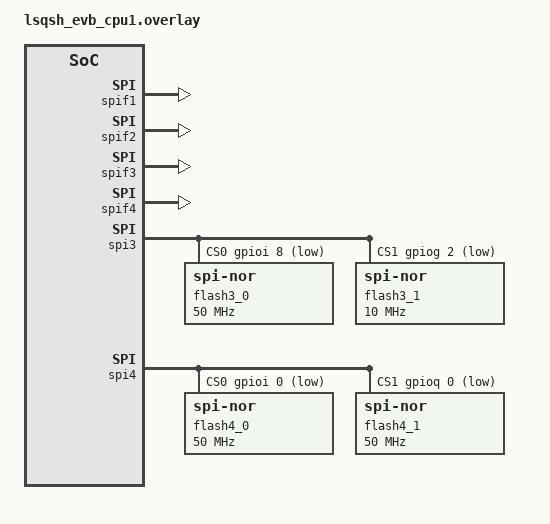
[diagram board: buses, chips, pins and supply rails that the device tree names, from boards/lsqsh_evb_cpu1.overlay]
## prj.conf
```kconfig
CONFIG_SPI_FILTER_LINKEDSEMI=y
CONFIG_SPI=y
CONFIG_FLASH=y
# CONFIG_LOG_MODE_IMMEDIATE=y
CONFIG_SHELL=y
CONFIG_FLASH_SHELL=y
CONFIG_DMA=y

CONFIG_LOG=y
CONFIG_LOG_BUFFER_SIZE=65536
CONFIG_SHELL_BACKEND_SERIAL_LOG_MESSAGE_QUEUE_SIZE=40960
# CONFIG_LOG=n
# CONFIG_LOG_BUFFER_SIZE=1024
# CONFIG_SHELL_BACKEND_SERIAL_LOG_MESSAGE_QUEUE_SIZE=1024

# CONFIG_LOG_MODE_DEFERRED=n
# CONFIG_LOG_MODE_IMMEDIATE=y

CONFIG_FLASH_JESD216_API=y
CONFIG_SPI_EXTENDED_MODES=y

CONFIG_MAIN_STACK_SIZE=10240

CONFIG_IDLE_STACK_SIZE=512
CONFIG_TEST_EXTRA_STACK_SIZE=1536
CONFIG_SYSTEM_WORKQUEUE_STACK_SIZE=8192
CONFIG_ISR_STACK_SIZE=4096
CONFIG_PRIVILEGED_STACK_SIZE=4096
CONFIG_SHELL_STACK_SIZE=4096
CONFIG_LOG_PROCESS_THREAD_STACK_SIZE=4096

CONFIG_SPI_FILTER_INTERRUPT_LOG=n
CONFIG_SPI_FILTER_DMA_LOG=y

CONFIG_BUILD_OUTPUT_HEX=y#hex

CONFIG_LOG_MODE_DEFERRED=n
CONFIG_LOG_MODE_IMMEDIATE=y
CONFIG_SHELL=n
#reboot才需要
# CONFIG_LINKEDSEMI_ZEPHYR_UTIL_CMD_REBOOT=y

# CONFIG_SPI_NOR_SFDP_RUNTIME=n
 #让设备树配置flash大小
 # CONFIG_MAIN_STACK_SIZE
```

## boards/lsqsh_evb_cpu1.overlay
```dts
#include "lsqsh_pinctrl_pfr_tpm.dtsi"

/ {
    aliases {
#if 1
        spifilter = &spif3;
	//spifiltermaster = &spif4;
	spifiltermaster = &spif3;
        //spifiltermaster = &spif1;
	spiflash = &flash4_0;
        //spiflash = &flash3_0;
#endif
#if 0
        spifilter = &spif2;
        spifiltermaster = &spif4;
        spiflash = &flash4_1;
#endif
    };
};

&spif1 {
    status = "okay";
};

&spif2 {
    status = "okay";
};

&spif3 {
    cmd-page-program-quad-addr-quad-data =<0xc2>;
    cmd-quad-spi-mode-enter = <0x38>;
    cmd-quad-spi-mode-exit = <0xff>;
    status = "okay";
};

&spif4 {
    cmd-page-program-quad-addr-quad-data =<0xc2>;
    cmd-quad-spi-mode-enter = <0x38>;
    cmd-quad-spi-mode-exit = <0xff>;
    status = "okay";
};

&spi3 {
    cs-gpios = <&gpioi 8 GPIO_ACTIVE_LOW>,
                <&gpiog 2 GPIO_ACTIVE_LOW>;
    pinctrl-0 = <>;
    pinctrl-names = "default";
    //timing-calibration-disabled;
    dmas =<&dmac2 7 DMA_SPI3_RX>,<&dmac2 7 DMA_SPI3_TX>;
    dma-names ="rx","tx";
    status = "okay";

    flash3_0: flash3@0 {
        compatible = "jedec,spi-nor";
        reg = <0>;
        spi-max-frequency = <DT_FREQ_M(50)>;
        spi-max-buswidth = <4>;
        //spi-nor-caps-mask=<0x40000>;
        re-init-support;
    };
    flash3_1: flash3@1 {
        compatible = "jedec,spi-nor";
        reg = <1>;
        spi-max-frequency = <DT_FREQ_M(10)>;
        spi-max-buswidth = <4>;
        re-init-support;
    };
};

&spi4 {
    cs-gpios = <&gpioi 0 GPIO_ACTIVE_LOW>,
                <&gpioq 0 GPIO_ACTIVE_LOW>;
    pinctrl-0 = <>;
    pinctrl-names = "default";
    //timing-calibration-disabled;
    dmas =<&dmac2 7 DMA_SPI4_RX>,<&dmac2 7 DMA_SPI4_TX>;
    dma-names ="rx","tx";
    status = "okay";

    flash4_0: flash4@0 {
        compatible = "jedec,spi-nor";
        reg = <0>;
        spi-max-frequency = <DT_FREQ_M(50)>;
        spi-max-buswidth = <4>;
        re-init-support;
    };
    flash4_1: flash4@1 {
        compatible = "jedec,spi-nor";
        reg = <1>;
        spi-max-frequency = <DT_FREQ_M(50)>;
        spi-max-buswidth = <4>;
        re-init-support;
    };
};

&dmac1 {
    status = "okay";
};

&dmac2 {
    status = "okay";
};

#if 0
#undef SRAM_TOTAL_SIZE
#undef SRAM_RO_SIZE
#undef SRAM_RW_SIZE

#define SRAM_TOTAL_SIZE DT_SIZE_K(512 - 128)
#define SRAM_RO_SIZE    DT_SIZE_K(256 - 128)
#define SRAM_RW_SIZE    (SRAM_TOTAL_SIZE - SRAM_RO_SIZE)

&sram_ro {
    reg = <0x10020000 SRAM_RO_SIZE>;
};

&sram {
    reg = <(0x10020000 + SRAM_RO_SIZE) SRAM_RW_SIZE>;
};
#endif
```

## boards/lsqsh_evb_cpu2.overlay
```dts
#include "lsqsh_pinctrl_pfr_tpm.dtsi"

/ {
    aliases {
#if 1
        spifilter = &spif3;
	//spifiltermaster = &spif4;
        spifiltermaster = &spif3;
	//spifiltermaster = &spif1;
	spiflash = &flash4_0;
	//spiflash = &flash4_1;
        //spiflash = &flash3_0;
#endif
#if 0
        spifilter = &spif2;
        spifiltermaster = &spif4;
        spiflash = &flash4_1;
#endif
    };
};

&chosen {
    zephyr,flash-controller = &qspi1;
    zephyr,console = &uart5;
    zephyr,shell-uart = &uart5;
};

&spif1 {
    status = "okay";
};

&spif2 {
    status = "okay";
};

&spif3 {
    cmd-page-program-quad-addr-quad-data =<0xc2>;
    cmd-quad-spi-mode-enter = <0x38>;
    cmd-quad-spi-mode-exit = <0xff>;
    status = "okay";
};

&spif4 {
    cmd-page-program-quad-addr-quad-data =<0xc2>;
    cmd-quad-spi-mode-enter = <0x38>;
    cmd-quad-spi-mode-exit = <0xff>;
    status = "okay";
};

&spi3 {
    cs-gpios = <&gpioi 8 GPIO_ACTIVE_LOW>,
                <&gpiog 2 GPIO_ACTIVE_LOW>;
    pinctrl-0 = <>;
    pinctrl-names = "default";
    //timing-calibration-disabled;
    dmas =<&dmac2 6 DMA_SPI3_RX>,<&dmac2 6 DMA_SPI3_TX>;
    dma-names ="rx","tx";
    status = "okay";

    flash3_0: flash3@0 {
        compatible = "jedec,spi-nor";
        reg = <0>;
        spi-max-frequency = <DT_FREQ_M(10)>;
        spi-max-buswidth = <4>;
        //spi-nor-caps-mask=<0x40000>;
        re-init-support;
    };
    flash3_1: flash3@1 {
        compatible = "jedec,spi-nor";
        reg = <1>;
        spi-max-frequency = <DT_FREQ_M(10)>;
        spi-max-buswidth = <4>;
        re-init-support;
    };
};

&spi4 {
    cs-gpios = <&gpioi 0 GPIO_ACTIVE_LOW>,
                <&gpioq 0 GPIO_ACTIVE_LOW>;
    pinctrl-0 = <>;
    pinctrl-names = "default";
    timing-calibration-disabled;
    dmas =<&dmac2 7 DMA_SPI4_RX>,<&dmac2 7 DMA_SPI4_TX>;
    dma-names ="rx","tx";
    status = "okay";

    flash4_0: flash4@0 {
        compatible = "jedec,spi-nor";
        reg = <0>;
        spi-max-frequency = <DT_FREQ_M(50)>;
        spi-max-buswidth = <4>;
        re-init-support;
    };
    flash4_1: flash4@1 {
        compatible = "jedec,spi-nor";
        reg = <1>;
	spi-max-frequency = <DT_FREQ_M(50)>;
        spi-max-buswidth = <4>;
        re-init-support;
    };
};

&dmac1 {
    status = "okay";
};

&dmac2 {
    status = "okay";
};

&pinctrl {
	/omit-if-no-ref/uart4_tx_pd11: uart4_tx_pd11 {
	pinmux = <UART4_TXD_FUNC1_IDX09_PINMUX_PD(11)>;
};

	/omit-if-no-ref/uart4_rx_pd12: uart4_rx_pd12 {
	pinmux = <UART4_RXD_FUNC1_IDX10_PINMUX_PD(12)>;
	input-enable;
};
	/omit-if-no-ref/uart5_tx_pn14: uart5_tx_pn14 {
	pinmux = <UART5_TXD_FUNC4_PN14_PINMUX>;
};
	/omit-if-no-ref/uart5_rx_pn13: uart5_rx_pn13 {
	pinmux = <UART5_RXD_FUNC4_PN13_PINMUX>;
	input-enable;
};

};

&uart4 {
	status = "disabled";
	pinctrl-0 = <&uart4_tx_pd11 &uart4_rx_pd12>;
	pinctrl-names = "default";
};

#if 1
&uart5 {
	status = "okay";
	pinctrl-0 = <&uart5_tx_pn14 &uart5_rx_pn13>;
	pinctrl-names = "default";
};
#endif

#if 0
#undef SRAM_TOTAL_SIZE
#undef SRAM_RO_SIZE
#undef SRAM_RW_SIZE

#define SRAM_TOTAL_SIZE DT_SIZE_K(512 - 128)
#define SRAM_RO_SIZE    DT_SIZE_K(256 - 128)
#define SRAM_RW_SIZE    (SRAM_TOTAL_SIZE - SRAM_RO_SIZE)

&sram_ro {
    reg = <0x10020000 SRAM_RO_SIZE>;
};

&sram {
    reg = <(0x10020000 + SRAM_RO_SIZE) SRAM_RW_SIZE>;
};
#endif
```

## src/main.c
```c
/*
 * Copyright (c) 2024 Linkedsemi
 *
 * SPDX-License-Identifier: Apache-2.0
 */

#include "zephyr/sys/printk.h"
#include "zephyr/sys/util.h"
#include "zephyr/types.h"
#include <stdbool.h>
#include <stdint.h>
#if !defined(CONFIG_SPI_FILTER_LINKEDSEMI)
    #error no CONFIG_SPI_FILTER_LINKEDSEMI define
#endif

#include <zephyr/drivers/spi.h>
#include <zephyr/drivers/spi_nor.h>
#include <zephyr/kernel.h>
#include <stdlib.h>
#include <stdio.h>
#include <zephyr/kernel.h>
#include <zephyr/drivers/spi.h>
#include <zephyr/drivers/flash.h>
#include <reg_spi_filter.h>
#include <spi_filter.h>
#include <ls_soc_gpio.h>
#include <zephyr/logging/log.h>
#include <time.h>
#include <zephyr/kernel.h>
#include <soc.h>
#ifndef DELAY_MS
#define DELAY_MS(ms) k_msleep(ms)
#endif

#define READ_LLI_DIS 1
#define NO_ALIGN 0
LOG_MODULE_REGISTER(spi_master_communication, LOG_LEVEL_INF);

#define TEST_READ_SIZE  4096

#define FLASH_TEST_STACK_SIZE 4096
#define FLASH_TEST_PRIORITY 5
#define START_ADDR 0x00
#define ERASE_SIZE 0X9000
#define FLASH_PAGE_SIZE_MAIN 256
static uint8_t write_buf[32896]={0};
static uint8_t read_buf[32896]={0};
// static uint8_t read_total_big_buf[8188]={0};
#if NO_ALIGN

#if READ_LLI_DIS
__aligned(4) static uint8_t read_total_big_noalign_buf[sizeof(write_buf) + 8] = {0};
#else
__aligned(4) static uint8_t read_total_big_lli_noalign_buf[sizeof(write_buf)-24564 + 8] = {0};
#endif

#else

#if READ_LLI_DIS
static uint8_t read_total_big_buf[sizeof(write_buf)]={0};
static uint8_t read_total_big_buf1[sizeof(write_buf)-1]={0};
static uint8_t read_total_big_buf2[sizeof(write_buf)-2]={0};
static uint8_t read_total_big_buf3[sizeof(write_buf)-3]={0};
#else
static uint8_t read_total_big_lli_buf[sizeof(write_buf)-24564]={0};
static uint8_t read_total_big_lli_buf1[sizeof(write_buf)-24565]={0};
static uint8_t read_total_big_lli_buf2[sizeof(write_buf)-24566]={0};
static uint8_t read_total_big_lli_buf3[sizeof(write_buf)-24567]={0};
#endif

#endif
K_THREAD_STACK_DEFINE(flash_read_stack, FLASH_TEST_STACK_SIZE);
struct k_thread flash_read_thread_data;
static uint8_t test_read_buf[TEST_READ_SIZE];


void flash_read_loop_thread(void *p1, void *p2, void *p3)
{

	const struct device *const flash_dev = DEVICE_DT_GET(DT_ALIAS(spiflash));
	uint32_t read_count = 0;

	if (!device_is_ready(flash_dev)) {
		LOG_ERR("Flash device not ready, stress test aborted.");
		return;
	}

	LOG_INF("Flash stress test thread started on %s", flash_dev->name);

	while (1) {

		int ret = flash_read(flash_dev, START_ADDR, test_read_buf, TEST_READ_SIZE);

		if (ret == 0) {

		if (read_count % 500 == 0) {
			LOG_INF("Flash read healthy. Total reads: %u", read_count);
		}
		} else {
		LOG_ERR("Flash read FAILED at count %u, error: %d", read_count, ret);
		}

		read_count++;


		k_msleep(20);
	}
}

int  test_spif(void)
{
	do {
		uint8_t id[3] = { 0 };
		const struct device *const flash_dev = DEVICE_DT_GET(DT_ALIAS(spiflash));
		// spi_nor_re_init(flash_dev);
		int rc = flash_read_jedec_id(flash_dev, id);
		DELAY_MS(10);
		if (rc == 0) {

			LOG_INF("jedec-id = [%02x %02x %02x];\n", id[0], id[1], id[2]);
		} else {
		LOG_INF("JEDEC ID read failed: %d\n", rc);
		}
	} while(0);

	return 0;
}

void spi_monitor_jedec_id(const struct device *const spifiltermaster,const struct device *const spifilter,uint32_t freq)
{

	// spif_add_cmd(spifilter, 0x9f);

	static const uint8_t send_data_0[] = {
		0x9f,
	};
	uint8_t rx[4] = {0};
	// spif_dump_cmd_table(spifilter);
	// spif_dump_rw_addr_privilege_table(spifilter);

	const struct device *spi_dev = spif_spi_dev(spifiltermaster);

	const struct spi_config spi_cfg = {
		.operation = SPI_OP_MODE_MASTER | SPI_WORD_SET(8) | SPI_TRANSFER_MSB,
		.frequency = freq,
		.cs = { .gpio = *(spif_spi_cs(spifiltermaster)), },
	};
	LOG_INF("send_freq=%u",freq);
	int ret=0;
	struct spi_buf tx_buf_0 = {
		.buf = (uint8_t*)send_data_0,
		.len = sizeof(send_data_0),
	};

	struct spi_buf rx_buf = {
		.buf = &rx,
		.len = sizeof(rx),
	};

	const struct spi_buf_set tx_set_0 = { &tx_buf_0, 1 };
	const struct spi_buf_set rx_set = { &rx_buf, 1 };

	ret = spi_transceive(spi_dev, &spi_cfg, &tx_set_0, &rx_set);

	if (ret < 0) {
		LOG_ERR("send failed: %d",ret);
	}else {
		for (int i=0; i<sizeof(rx); i++) {
			printk("0x%02X ",rx[i]);
		}
		printk("\n");

	}

}

int flash_helper_erase(const struct device *dev, uint32_t addr, uint32_t size)
{
	int ret = flash_erase(dev, addr, size);
	if (ret != 0) {
		DEV_ERR(dev,"Erase Error at 0x%08x (ret: %d)", addr, ret);
	}
	return ret;
}

int flash_helper_write(const struct device *dev, uint32_t addr, const uint8_t *data, uint32_t size)
{
	int ret;
	for (uint32_t offset = 0; offset < size; offset += FLASH_PAGE_SIZE_MAIN) {
		uint32_t chunk = (size - offset < FLASH_PAGE_SIZE_MAIN) ? (size - offset) : FLASH_PAGE_SIZE_MAIN;

		ret = flash_write(dev, addr + offset, &data[offset], chunk);
		if (ret != 0) {
			DEV_ERR(dev,"Write Error at 0x%08x", addr + offset);
		return ret;
		}
	}
	return 0;
}

int flash_helper_read(const struct device *dev, uint32_t addr, uint8_t *dest, uint32_t size)
{
	int ret = flash_read(dev, addr, dest, size);
	if (ret != 0) {
		DEV_ERR(dev,"Read Error at 0x%08x (ret: %d)", addr, ret);
	}
	return ret;
}

int flash_helper_verify(const uint8_t *expected, const uint8_t *actual, uint32_t size)
{
	if (memcmp(expected, actual, size) == 0) {
		return 0;
	}

	for (uint32_t i = 0; i < size; i++) {
		if (expected[i] != actual[i]) {
		LOG_ERR("Mismatch! Offset: 0x%x, Exp: 0x%02x, Act: 0x%02x", i, expected[i], actual[i]);
		break;
		}
	}
	return -EIO;
}

static int flash_read_big_and_verify_data(const struct device *dev, uint32_t addr,
                            const uint8_t *expected, uint8_t *actual,
                            size_t len, const char *test_name)
{
	int ret;

	ret = flash_helper_read(dev, addr, actual, len);
	if (ret != 0) {
		DEV_ERR(dev, "[%s] Read operation failed! (ret: %d)", test_name, ret);
		return ret;
	}

	if (memcmp(expected, actual, len) == 0) {
		DEV_INF(dev, ">>> %s PASSED! (Size: %zu) <<<", test_name, len);
		return 0;
	} else {

		DEV_ERR(dev, ">>> %s BULK CHECK FAILED! (Addr: 0x%08x) <<<", test_name, addr);
		LOG_HEXDUMP_ERR(expected, len, "Expected Data:");
		LOG_HEXDUMP_ERR(actual, len, "Actual Read From Flash:");

		return -EIO;
	}
}

static void spif_dma_callback(void *callback_arg)
{
	const struct device *dev = (const struct device *)callback_arg;
	LOG_INF("DMA callback triggered for device: %s", dev->name);
}

int main(void)
{
	const struct device *const spifilter = DEVICE_DT_GET(DT_ALIAS(spifilter));
	bool check;
#if 0
	linkedsemi_spi_filter_cold_reset(spifilter);
	spif_memset_addr_whitelist(spifilter, 1);
	spif_flash_size_set(spifilter, MB(32));
	// spif_dump_cmd_table(spifilter);
	// spif_dump_rw_addr_privilege_table(spifilter);

#if defined(CONFIG_SPI_FILTER_DMA_LOG)
	linkedsemi_spif_register_callback(spifilter, (void*)spif_dma_callback);
	spif_dma_start(spifilter);
#endif

	spif_filter_enable(spifilter, true);
	check = spif_pinctrl_filter_mode_check(spifilter);
	__ASSERT_NO_MSG(check);

	// spif_operation_mode_config(spifilter, true);//filter
	// printk("Switch to Filter mode (OPERATION_MODE=1)\n");

	spif_passthrough_analog_mux_enable(spifilter, true);
	check = spif_pinctrl_passthrough_mode_check(spifilter);
	__ASSERT_NO_MSG(check);

	spif_switch_to_filter(spifilter);
	check = spif_pinctrl_filter_mode_check(spifilter);
	__ASSERT_NO_MSG(check);
#endif
	spif_switch_to_master(spifilter);
	check = spif_pinctrl_master_mode_check(spifilter);
	__ASSERT_NO_MSG(check);

	test_spif();
	LOG_INF("spi_master_communication");
	const struct device *const flash_dev = DEVICE_DT_GET(DT_ALIAS(spiflash));
	int ret=0;
	uint32_t current_addr = START_ADDR;
	memset(write_buf, 0, sizeof(write_buf));
	memset(read_buf, 0, sizeof(read_buf));

/*Only channels 0 and 1 have lli*/
	#if NO_ALIGN

	#if READ_LLI_DIS
	memset(read_total_big_noalign_buf, 0, sizeof(read_total_big_noalign_buf));
	#else
	memset(read_total_big_lli_noalign_buf, 0, sizeof(read_total_big_lli_noalign_buf));
	#endif

	#else

	#if READ_LLI_DIS
	memset(read_total_big_buf, 0, sizeof(read_total_big_buf));
	memset(read_total_big_buf1, 0, sizeof(read_total_big_buf1));
	memset(read_total_big_buf2, 0, sizeof(read_total_big_buf2));
	memset(read_total_big_buf3, 0, sizeof(read_total_big_buf3));
	#else
	memset(read_total_big_lli_buf, 0, sizeof(read_total_big_lli_buf));
	memset(read_total_big_lli_buf1, 0, sizeof(read_total_big_lli_buf1));
	memset(read_total_big_lli_buf2, 0, sizeof(read_total_big_lli_buf2));
	memset(read_total_big_lli_buf3, 0, sizeof(read_total_big_lli_buf3));
	#endif

	#endif
	flash_helper_erase(flash_dev, START_ADDR, ERASE_SIZE);

	for (uint32_t len = 1; len <= FLASH_PAGE_SIZE_MAIN; len++) {
		uint32_t offset = current_addr - START_ADDR;
		if ((current_addr + len) > (START_ADDR + ERASE_SIZE)) {
			DEV_ERR(flash_dev,"Test reached boundary of erased area at addr %u len: %u",current_addr, len);
			break;
		}

		// In each round, the first byte is equal to the current length.
		for (uint32_t i = 0; i < len; i++) {
			write_buf[offset+i] = (uint8_t)((len + i) & 0xFF);
		}

		// 0-len write
		ret = flash_helper_write(flash_dev, current_addr, &write_buf[offset], len);
		if (ret != 0) {
			DEV_ERR(flash_dev,"Write failed at addr 0x%x, len %u", current_addr, len);
			goto test_end;
		}

		ret = flash_helper_read(flash_dev, current_addr, &read_buf[offset], len);
		if (ret != 0) {
			DEV_ERR(flash_dev,"Read failed at addr 0x%x, len %u", current_addr, len);
			goto test_end;
		}

		if (flash_helper_verify(&write_buf[offset], &read_buf[offset], len) != 0) {
			// DEV_ERR(dev,"Failed at write length: %u", len);
			DEV_ERR(flash_dev, "verify Error Length: %u, Flash Addr: 0x%08x, Offset: 0x%x", len, current_addr, offset);
			uint32_t error_count = 0; // error cnt
			for (uint32_t i = 0; i < len; i++) {
					if (write_buf[offset + i] != read_buf[offset + i]) {
						DEV_ERR(flash_dev, "Mismatch at i=%d (Addr: 0x%x): Exp 0x%02x, Act 0x%02x",
							i, current_addr + i, write_buf[offset + i], read_buf[offset + i]);
							error_count++;

						if (error_count >= 10) {
							DEV_ERR(flash_dev, "!TO many data no pass.");
							break;
						}
					}
			}
			LOG_HEXDUMP_ERR(&write_buf[offset], len, "Expected Data Buffer:");
			LOG_HEXDUMP_ERR(&read_buf[offset], len, "Actual Read From Flash:");
			goto test_end;
		}

		current_addr += len;
	}

	uint32_t total_tested_size = current_addr - START_ADDR;
	DEV_INF(flash_dev,"Performing final bulk verification of %u bytes...", total_tested_size);
	if (memcmp(write_buf, read_buf, total_tested_size) == 0) {
		DEV_INF(flash_dev,">>> FINAL BULK CHECK PASSED! <<<");
	} else {
		DEV_ERR(flash_dev,">>> FINAL BULK CHECK FAILED! <<<");
		ret = -EIO;
	}

	#if NO_ALIGN

	#if READ_LLI_DIS
	size_t base_len = sizeof(write_buf); // L is raw write_buf length
	// extra poll 3 addr (+1, +2, +3)
	for (int off = 1; off <= 3; off++) {
		uint8_t *current_dst = read_total_big_noalign_buf + off;

		// inside poll 4 read length (L, L-1, L-2, L-3)
		for (int l_off = 0; l_off < 4; l_off++) {
			size_t current_len = base_len - l_off;

			memset(read_total_big_noalign_buf, 0, sizeof(read_total_big_noalign_buf));
			ret = flash_helper_read(flash_dev, START_ADDR, current_dst, current_len);

			if (ret == 0 && memcmp(write_buf, current_dst, current_len) == 0) {
				DEV_INF(flash_dev, "PASSED: Offset +%d, Len L-%d (%zu)", off, l_off, current_len);
			} else {
				DEV_ERR(flash_dev, "FAILED: Offset +%d, Len L-%d (%zu)!", off, l_off, current_len);

				DEV_ERR(flash_dev, "Fail Addr: %p", (void*)current_dst);
				goto test_end;
			}
		}
	}
	#else
	size_t base_len = sizeof(write_buf)-24564;
	for (int off = 1; off <= 3; off++) {
		uint8_t *current_dst = read_total_big_lli_noalign_buf + off;

		for (int l_off = 0; l_off < 4; l_off++) {
			size_t current_len = base_len - l_off;

			memset(read_total_big_lli_noalign_buf, 0, sizeof(read_total_big_lli_noalign_buf));

			ret = flash_helper_read(flash_dev, START_ADDR, current_dst, current_len);

			if (ret == 0 && memcmp(write_buf, current_dst, current_len) == 0) {
				DEV_INF(flash_dev, "PASSED: Offset +%d, Len L-%d (%zu)", off, l_off, current_len);
			} else {
				DEV_ERR(flash_dev, "FAILED: Offset +%d, Len L-%d (%zu)!", off, l_off, current_len);

				DEV_ERR(flash_dev, "Fail Addr: %p", (void*)current_dst);
				goto test_end;
			}
		}
	}
	#endif

	#else
	#if READ_LLI_DIS
	ret = flash_read_big_and_verify_data(flash_dev,START_ADDR,write_buf,read_total_big_buf,sizeof(read_total_big_buf),"read_total_big_buf");
	if (ret != 0) {DEV_ERR(flash_dev,"Read failed read_total_big_buf");goto test_end;}
	ret = flash_read_big_and_verify_data(flash_dev,START_ADDR,write_buf,read_total_big_buf1,sizeof(read_total_big_buf1),"read_total_big_buf1");
	if (ret != 0) {DEV_ERR(flash_dev,"Read failed read_total_big_buf1");goto test_end;}
	ret = flash_read_big_and_verify_data(flash_dev,START_ADDR,write_buf,read_total_big_buf2,sizeof(read_total_big_buf2),"read_total_big_buf2");
	if (ret != 0) {DEV_ERR(flash_dev,"Read failed read_total_big_buf2");goto test_end;}
	ret = flash_read_big_and_verify_data(flash_dev,START_ADDR,write_buf,read_total_big_buf3,sizeof(read_total_big_buf3),"read_total_big_buf3");
	if (ret != 0) {DEV_ERR(flash_dev,"Read failed read_total_big_buf3");goto test_end;}
	#else
	ret = flash_read_big_and_verify_data(flash_dev,START_ADDR,write_buf,read_total_big_lli_buf,sizeof(read_total_big_lli_buf),"read_total_big_lli_buf");
	if (ret != 0) {DEV_ERR(flash_dev,"Read failed read_total_big_buf");goto test_end;}
	ret = flash_read_big_and_verify_data(flash_dev,START_ADDR,write_buf,read_total_big_lli_buf1,sizeof(read_total_big_lli_buf1),"read_total_big_lli_buf1");
	if (ret != 0) {DEV_ERR(flash_dev,"Read failed read_total_big_buf1");goto test_end;}
	ret = flash_read_big_and_verify_data(flash_dev,START_ADDR,write_buf,read_total_big_lli_buf2,sizeof(read_total_big_lli_buf2),"read_total_big_lli_buf2");
	if (ret != 0) {DEV_ERR(flash_dev,"Read failed read_total_big_buf2");goto test_end;}
	ret = flash_read_big_and_verify_data(flash_dev,START_ADDR,write_buf,read_total_big_lli_buf3,sizeof(read_total_big_lli_buf3),"read_total_big_lli_buf3");
	if (ret != 0) {DEV_ERR(flash_dev,"Read failed read_total_big_buf3");goto test_end;}
	#endif
	#endif

test_end:
	if (ret != 0) {
		DEV_ERR(flash_dev,"Flash Test Failed!");
	} else {
		DEV_INF(flash_dev,"========== All Flash Tests Passed! ==========");
	}


	// k_thread_create(&flash_read_thread_data, flash_read_stack,
	// 		K_THREAD_STACK_SIZEOF(flash_read_stack),
	// 		flash_read_loop_thread, NULL, NULL, NULL,
	// 		FLASH_TEST_PRIORITY, 0, K_NO_WAIT);

	return 0;
}
```
